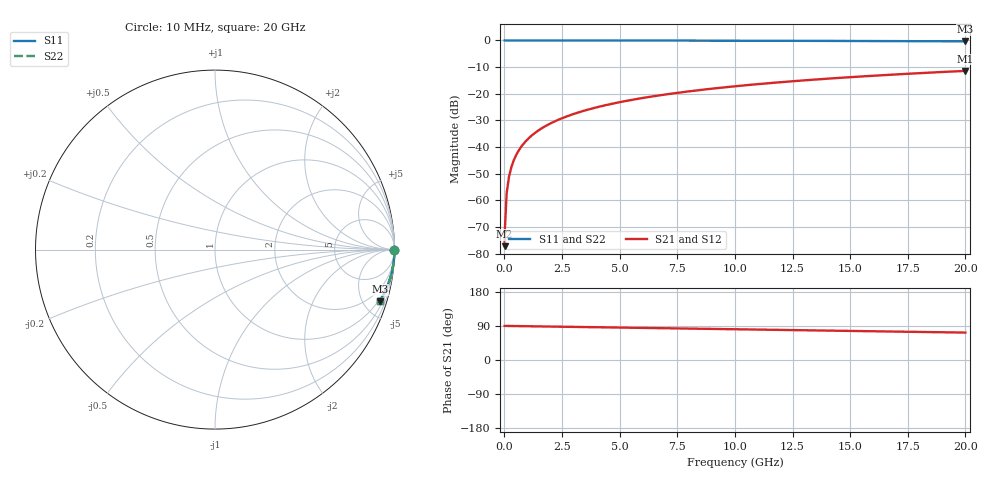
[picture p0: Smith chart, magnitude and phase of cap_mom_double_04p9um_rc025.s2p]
#  GHZ S DB R 50
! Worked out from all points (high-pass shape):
!   202 points, 10 MHz to 20 GHz, reference 50 ohm
!   highest |S21| = -11.41 dB at 20 GHz (marker M1); lowest = -77.1 dB at 10 MHz (marker M2)
!   |S21| within 3 dB of the highest: 13.88 GHz to end of sweep
!   lowest |S11| = -0.3 dB at 20 GHz (marker M3), VSWR 51.24, Z = 41.8 - j321 ohm
!   |S11| at or under -10 dB: nowhere
!   |S22| runs from -0.3 to 0.0 dB; largest |S21 - S12| = 2.6e-13
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0.01  -0.00 -0.0  -77.13 90.0  -77.13 90.0  -0.00 -0.0
0.02  -0.00 -0.0  -71.11 90.0  -71.11 90.0  -0.00 -0.0
0.1  -0.00 -0.1  -57.13 89.9  -57.13 89.9  -0.00 -0.1
0.2  -0.00 -0.2  -51.11 89.8  -51.11 89.8  -0.00 -0.2
0.3  -0.00 -0.3  -47.59 89.8  -47.59 89.8  -0.00 -0.3
0.4  -0.00 -0.4  -45.09 89.7  -45.09 89.7  -0.00 -0.4
0.5  -0.00 -0.4  -43.15 89.6  -43.15 89.6  -0.00 -0.4
0.6  -0.00 -0.5  -41.56 89.5  -41.56 89.5  -0.00 -0.5
0.8  -0.00 -0.7  -39.06 89.3  -39.06 89.3  -0.00 -0.7
1  -0.00 -0.9  -37.12 89.2  -37.12 89.2  -0.00 -0.9
1.3  -0.00 -1.2  -34.84 88.9  -34.84 88.9  -0.00 -1.2
1.6  -0.00 -1.4  -33.04 88.6  -33.04 88.6  -0.00 -1.4
2  -0.00 -1.8  -31.10 88.3  -31.10 88.3  -0.00 -1.8
2.4  -0.01 -2.1  -29.52 87.9  -29.52 87.9  -0.01 -2.2
3.4  -0.01 -3.0  -26.49 87.0  -26.49 87.0  -0.01 -3.0
4.9  -0.02 -4.4  -23.32 85.7  -23.32 85.7  -0.02 -4.4
6.7  -0.04 -6.0  -20.62 84.0  -20.62 84.0  -0.04 -6.0
8.3  -0.06 -7.4  -18.78 82.6  -18.78 82.6  -0.06 -7.4
10.1  -0.09 -9.0  -17.10 81.0  -17.10 81.0  -0.09 -9.0
13.4  -0.16 -11.8  -14.71 78.1  -14.71 78.1  -0.16 -11.9
16.7  -0.24 -14.7  -12.88 75.2  -12.88 75.2  -0.24 -14.7
20  -0.34 -17.4  -11.41 72.3  -11.41 72.3  -0.34 -17.5
